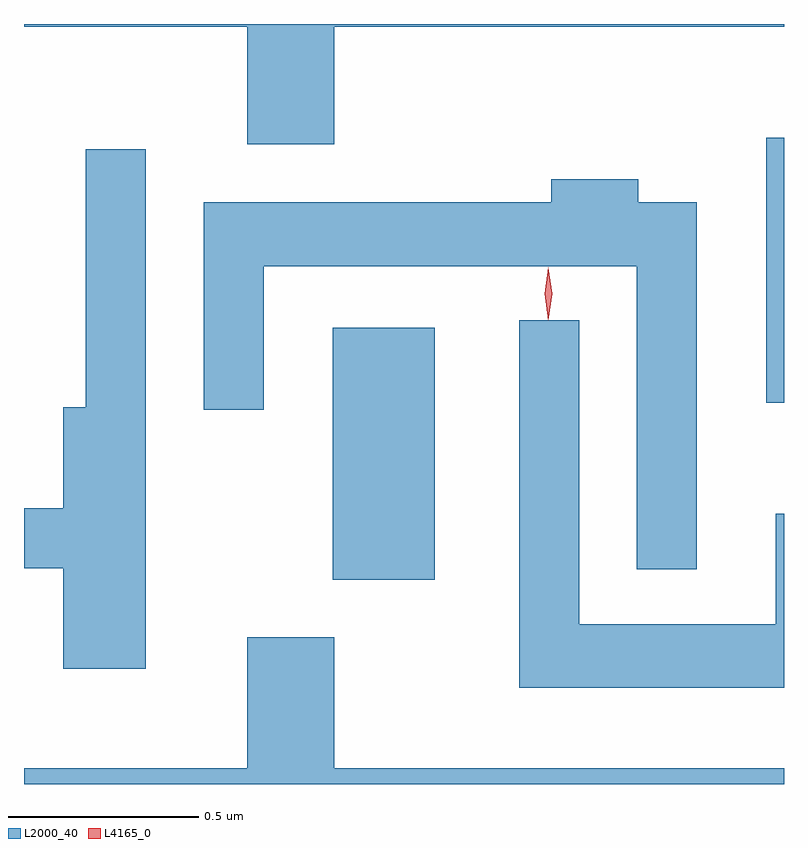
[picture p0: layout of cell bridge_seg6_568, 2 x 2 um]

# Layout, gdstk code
import gdstk
lib = gdstk.Library(unit=1e-6, precision=1e-09)
def R(c, l, rs):  # rectangles x0, y0, x1, y1
    for r in rs: c.add(gdstk.rectangle(r[:2], r[2:], *l))
def P(c, l, *ps):  # polygons
    for p in ps: c.add(gdstk.Polygon(p, *l))
L2000_40 = (2000, 40)
L4165_0 = (4165, 0)

bridge_seg6_568 = lib.new_cell('bridge_seg6_568')
R(bridge_seg6_568, L2000_40, [(427.646,1666.241,427.914,1666.904), (428.786,1666.706,428.833,1667.404)])
P(bridge_seg6_568, L2000_40, [(427.649,1667.696),(428.833,1667.696),(428.833,1667.703),(426.833,1667.703),(426.833,1667.696),(427.421,1667.696),(427.421,1667.386),(427.649,1667.386)],
  [(427.154,1667.373),(426.996,1667.373),(426.996,1666.694),(426.936,1666.694),(426.936,1666.429),(426.833,1666.429),(426.833,1666.271),(426.936,1666.271),(426.936,1666.006),(427.154,1666.006)],
  [(428.604,1667.234),(428.449,1667.234),(428.449,1667.294),(428.221,1667.294),(428.221,1667.234),(427.306,1667.234),(427.306,1666.688),(427.464,1666.688),(427.464,1667.066),(428.446,1667.066),(428.446,1666.268),(428.604,1666.268)],
  [(428.833,1666.414),(428.811,1666.414),(428.811,1666.124),(428.294,1666.124),(428.294,1666.923),(428.136,1666.923),(428.136,1665.956),(428.833,1665.956)],
  [(428.833,1665.744),(427.649,1665.744),(427.649,1666.089),(427.421,1666.089),(427.421,1665.744),(426.833,1665.744),(426.833,1665.703),(428.833,1665.703)])
P(bridge_seg6_568, L4165_0, [(428.212,1666.924),(428.203,1666.993),(428.212,1667.062),(428.213,1667.063),(428.213,1667.062),(428.223,1666.993),(428.213,1666.924),(428.213,1666.924)])

lib.write_gds('bridge_seg6_568.gds')
